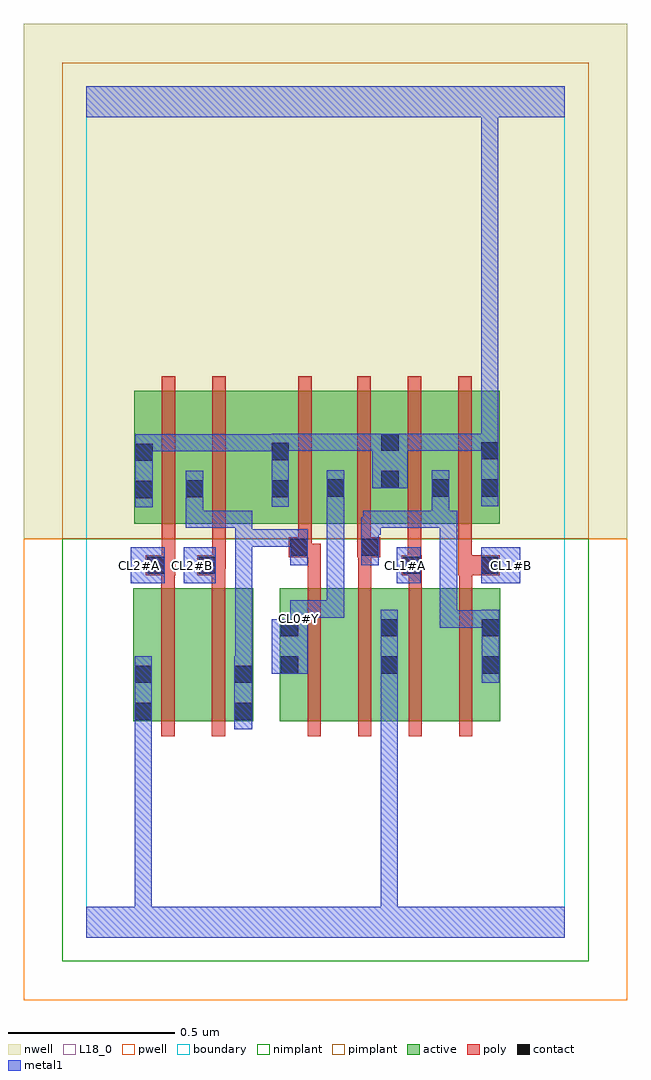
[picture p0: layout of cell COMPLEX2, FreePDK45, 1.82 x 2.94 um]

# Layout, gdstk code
import gdstk
lib = gdstk.Library(unit=1e-6, precision=1e-09)
def R(c, l, rs):  # rectangles x0, y0, x1, y1
    for r in rs: c.add(gdstk.rectangle(r[:2], r[2:], *l))
def A(c, l, x, y, w, h, nx, ny, dx, dy):  # array of equal rectangles
    R(c, l, [(x+i*dx, y+j*dy, x+i*dx+w, y+j*dy+h) for i in range(nx) for j in range(ny)])
active = (1, 0)
pwell = (2, 0)
nwell = (3, 0)
nimplant = (4, 0)
pimplant = (5, 0)
poly = (9, 0)
contact = (10, 0)
metal1 = (11, 0)
L18_0 = (18, 0)
boundary = (235, 0)

complex2 = lib.new_cell('COMPLEX2')
R(complex2, active, [(0.142,0.65,0.202,1.05), (0.142,0.65,0.322,1.05), (0.322,0.65,0.502,1.05), (0.442,0.65,0.502,1.05), (0.582,0.65,0.642,1.05), (0.582,0.65,0.762,1.05), (0.762,0.65,0.942,1.05), (0.882,0.65,1.066,1.05), (0.882,0.65,0.942,0.962), (1.066,0.65,1.246,1.05), (1.186,0.65,1.246,1.05), (0.144,1.244,0.204,1.644), (0.144,1.244,0.356,1.644), (0.296,1.244,0.614,1.644), (0.554,1.244,0.78,1.644), (0.72,1.244,0.944,1.644), (0.884,1.244,1.096,1.644), (1.036,1.244,1.244,1.644), (1.184,1.244,1.244,1.644), (0.296,1.32,0.356,1.644), (0.554,1.32,0.614,1.644), (0.72,1.322,0.78,1.644), (1.036,1.322,1.096,1.644), (0.884,1.338,0.944,1.644)])
R(complex2, pwell, [(-0.188,-0.188,1.628,1.2)])
R(complex2, nwell, [(-0.188,1.2,1.628,2.748)])
R(complex2, nimplant, [(-0.072,-0.072,1.512,1.2)])
R(complex2, pimplant, [(-0.072,1.2,1.512,2.632)])
A(complex2, poly, 0.666, 0.606, 0.04, 0.488, 4, 1, 0.152, 0)
A(complex2, poly, 0.816, 1.2, 0.04, 0.488, 3, 1, 0.152, 0)
R(complex2, poly, [(0.226,0.606,0.266,1.094), (0.378,0.606,0.418,1.094), (0.226,1.054,0.266,1.13), (0.378,1.054,0.418,1.13), (0.666,1.054,0.706,1.184), (0.818,1.054,0.858,1.184), (0.97,1.054,1.01,1.13), (1.122,1.054,1.162,1.13), (0.18,1.09,0.268,1.15), (0.226,1.09,0.266,1.13), (0.226,1.09,0.266,1.13), (0.334,1.09,0.418,1.15), (0.95,1.09,1.01,1.15), (1.12,1.09,1.244,1.15), (1.122,1.09,1.162,1.13), (1.122,1.09,1.162,1.13), (0.228,1.11,0.268,1.24), (0.378,1.11,0.418,1.15), (0.378,1.11,0.42,1.15), (0.38,1.11,0.42,1.24), (0.968,1.11,1.008,1.24), (0.968,1.11,1.008,1.15), (0.968,1.11,1.008,1.15), (1.12,1.11,1.16,1.24), (0.61,1.144,0.678,1.204), (0.638,1.144,0.678,1.184), (0.638,1.144,0.706,1.184), (0.816,1.144,0.884,1.204), (0.818,1.144,0.858,1.184), (0.818,1.144,0.858,1.184), (0.638,1.164,0.678,1.24), (0.816,1.164,0.856,1.24), (0.228,1.2,0.268,1.688), (0.38,1.2,0.42,1.688), (0.638,1.2,0.678,1.688)])
R(complex2, contact, [(0.146,0.654,0.198,0.706), (0.446,0.654,0.498,0.706), (0.146,0.766,0.198,0.818), (0.446,0.766,0.498,0.818), (0.586,0.794,0.638,0.846), (0.886,0.794,0.938,0.846), (1.19,0.794,1.242,0.846), (0.586,0.906,0.638,0.958), (0.886,0.906,0.938,0.958), (1.19,0.906,1.242,0.958), (0.184,1.094,0.236,1.146), (0.338,1.094,0.39,1.146), (0.954,1.094,1.006,1.146), (1.188,1.094,1.24,1.146), (0.614,1.148,0.666,1.2), (0.828,1.148,0.88,1.2), (0.148,1.322,0.2,1.374), (0.3,1.324,0.352,1.376), (0.558,1.324,0.61,1.376), (0.724,1.326,0.776,1.378), (1.04,1.326,1.092,1.378), (1.188,1.326,1.24,1.378), (0.888,1.352,0.94,1.404), (0.148,1.434,0.2,1.486), (0.558,1.436,0.61,1.488), (1.188,1.438,1.24,1.49), (0.888,1.464,0.94,1.516)])
R(complex2, metal1, [(0,0,1.44,0.092), (0.146,0.04,0.198,0.678), (0.886,0.04,0.938,0.092), (0.886,0.04,0.938,0.092), (0.886,0.04,0.938,0.092), (0.886,0.04,0.938,0.092), (0.886,0.04,0.938,0.818), (0.146,0.626,0.198,0.678), (0.146,0.626,0.198,0.678), (0.146,0.626,0.198,0.678), (0.146,0.626,0.198,0.678), (0.146,0.626,0.198,0.678), (0.146,0.626,0.198,0.678), (0.146,0.626,0.198,0.678), (0.146,0.626,0.198,0.678), (0.146,0.626,0.198,0.678), (0.146,0.626,0.198,0.678), (0.146,0.626,0.198,0.678), (0.146,0.626,0.198,0.678), (0.146,0.626,0.198,0.846), (0.446,0.626,0.5,0.846), (0.886,0.766,0.938,0.818), (0.886,0.766,0.938,0.818), (0.886,0.766,0.938,0.818), (0.886,0.766,0.938,0.818), (0.886,0.766,0.938,0.818), (0.886,0.766,0.938,0.818), (0.886,0.766,0.938,0.818), (0.886,0.766,0.938,0.818), (0.886,0.766,0.938,0.986), (1.19,0.766,1.242,0.986), (0.448,0.794,0.5,1.228), (0.558,0.794,0.666,0.958), (0.614,0.906,0.666,0.958), (0.614,0.906,0.666,1.014), (1.064,0.932,1.116,0.984), (1.064,0.932,1.24,0.984), (1.064,0.932,1.116,1.284), (1.188,0.932,1.24,0.984), (1.188,0.932,1.24,0.984), (1.188,0.932,1.242,0.986), (1.19,0.932,1.242,0.984), (0.614,0.962,0.666,1.014), (0.614,0.962,0.666,1.014), (0.614,0.962,0.776,1.014), (0.724,0.962,0.776,1.014), (0.724,0.962,0.776,1.35), (0.134,1.066,0.236,1.174), (0.294,1.066,0.39,1.174), (0.934,1.066,1.006,1.174), (1.188,1.066,1.306,1.174), (0.614,1.12,0.666,1.228), (0.828,1.12,0.88,1.264), (0.448,1.176,0.5,1.228), (0.448,1.176,0.5,1.228), (0.448,1.176,0.5,1.228), (0.448,1.176,0.5,1.228), (0.448,1.176,0.5,1.284), (0.448,1.176,0.666,1.228), (0.828,1.212,0.886,1.264), (0.834,1.212,0.886,1.284), (0.3,1.232,0.352,1.284), (0.3,1.232,0.352,1.284), (0.3,1.232,0.352,1.284), (0.3,1.232,0.5,1.284), (0.3,1.232,0.352,1.348), (0.834,1.232,1.092,1.284), (1.04,1.232,1.092,1.284), (1.04,1.232,1.092,1.284), (1.04,1.232,1.092,1.35), (1.04,1.232,1.116,1.284), (0.148,1.294,0.2,1.514), (0.3,1.296,0.352,1.404), (0.558,1.296,0.61,1.516), (0.724,1.298,0.776,1.35), (0.724,1.298,0.776,1.35), (0.724,1.298,0.776,1.406), (1.04,1.298,1.092,1.406), (1.188,1.298,1.24,1.518), (0.86,1.352,0.968,1.516), (0.148,1.462,0.2,1.514), (0.148,1.462,0.2,1.514), (0.148,1.462,0.346,1.514), (0.294,1.462,0.346,1.514), (0.294,1.462,0.346,1.514), (0.294,1.462,0.346,1.514), (0.294,1.462,0.498,1.514), (0.446,1.462,0.498,1.514), (0.446,1.462,0.61,1.514), (0.558,1.464,0.766,1.516), (0.714,1.464,0.766,1.516), (0.714,1.464,0.776,1.516), (0.724,1.464,0.776,1.516), (0.724,1.464,0.876,1.516), (0.824,1.464,0.876,1.516), (0.824,1.464,0.912,1.516), (0.916,1.464,1.13,1.516), (1.078,1.464,1.13,1.516), (1.078,1.464,1.13,1.516), (1.078,1.464,1.13,1.516), (1.078,1.464,1.24,1.516), (1.188,1.464,1.24,1.516), (1.188,1.464,1.24,1.516), (1.188,1.466,1.24,2.52), (0,2.468,1.44,2.56), (1.188,2.468,1.24,2.52), (1.188,2.468,1.24,2.52), (1.188,2.468,1.24,2.52), (1.188,2.468,1.24,2.52), (1.188,2.468,1.24,2.52), (1.188,2.468,1.24,2.52), (1.188,2.468,1.24,2.52), (1.188,2.468,1.24,2.52), (1.188,2.468,1.24,2.52), (1.188,2.468,1.24,2.52), (1.188,2.468,1.24,2.52), (1.188,2.468,1.24,2.52), (1.188,2.468,1.24,2.52), (1.188,2.468,1.24,2.52), (1.188,2.468,1.24,2.52), (1.188,2.468,1.24,2.52)])
A(complex2, L18_0, 0.614, 0.906, 0.052, 0.052, 1, 3, 0, 0.028)
R(complex2, L18_0, [(0,0,1.44,0.092), (0.146,0.04,0.198,0.678), (0.886,0.04,0.938,0.092), (0.886,0.04,0.938,0.092), (0.886,0.04,0.938,0.092), (0.886,0.04,0.938,0.092), (0.886,0.04,0.938,0.818), (0.146,0.626,0.198,0.678), (0.146,0.626,0.198,0.678), (0.146,0.626,0.198,0.678), (0.146,0.626,0.198,0.678), (0.146,0.626,0.198,0.678), (0.146,0.626,0.198,0.678), (0.146,0.626,0.198,0.678), (0.146,0.626,0.198,0.678), (0.146,0.626,0.198,0.678), (0.146,0.626,0.198,0.678), (0.146,0.626,0.198,0.678), (0.146,0.626,0.198,0.678), (0.146,0.626,0.198,0.846), (0.886,0.766,0.938,0.818), (0.886,0.766,0.938,0.818), (0.886,0.766,0.938,0.818), (0.886,0.766,0.938,0.818), (0.886,0.766,0.938,0.818), (0.886,0.766,0.938,0.818), (0.886,0.766,0.938,0.818), (0.886,0.766,0.938,0.818), (0.886,0.766,0.938,0.986), (0.558,0.794,0.666,0.958), (0.614,0.906,0.666,1.014), (0.614,0.962,0.666,1.014), (0.614,0.962,0.776,1.014), (0.724,0.962,0.776,1.014), (0.724,0.962,0.776,1.35), (0.134,1.066,0.236,1.174), (0.294,1.066,0.39,1.174), (0.934,1.066,1.006,1.174), (1.188,1.066,1.306,1.174), (0.134,1.094,0.186,1.146), (0.294,1.094,0.346,1.146), (0.934,1.094,0.986,1.146), (1.254,1.094,1.306,1.146), (0.148,1.294,0.2,1.514), (0.558,1.296,0.61,1.516), (0.724,1.298,0.776,1.35), (0.724,1.298,0.776,1.35), (0.724,1.298,0.776,1.406), (1.188,1.298,1.24,1.518), (0.86,1.352,0.968,1.516), (0.148,1.462,0.2,1.514), (0.148,1.462,0.2,1.514), (0.148,1.462,0.346,1.514), (0.294,1.462,0.346,1.514), (0.294,1.462,0.346,1.514), (0.294,1.462,0.346,1.514), (0.294,1.462,0.498,1.514), (0.446,1.462,0.498,1.514), (0.446,1.462,0.61,1.514), (0.558,1.464,0.766,1.516), (0.714,1.464,0.766,1.516), (0.714,1.464,0.776,1.516), (0.724,1.464,0.776,1.516), (0.724,1.464,0.876,1.516), (0.824,1.464,0.876,1.516), (0.824,1.464,0.912,1.516), (0.916,1.464,1.13,1.516), (1.078,1.464,1.13,1.516), (1.078,1.464,1.13,1.516), (1.078,1.464,1.13,1.516), (1.078,1.464,1.24,1.516), (1.188,1.464,1.24,1.516), (1.188,1.464,1.24,1.516), (1.188,1.466,1.24,2.52), (0,2.468,1.44,2.56), (1.188,2.468,1.24,2.52), (1.188,2.468,1.24,2.52), (1.188,2.468,1.24,2.52), (1.188,2.468,1.24,2.52), (1.188,2.468,1.24,2.52), (1.188,2.468,1.24,2.52), (1.188,2.468,1.24,2.52), (1.188,2.468,1.24,2.52), (1.188,2.468,1.24,2.52), (1.188,2.468,1.24,2.52), (1.188,2.468,1.24,2.52), (1.188,2.468,1.24,2.52), (1.188,2.468,1.24,2.52), (1.188,2.468,1.24,2.52), (1.188,2.468,1.24,2.52), (1.188,2.468,1.24,2.52)])
R(complex2, boundary, [(0,0,1.44,2.56)])
complex2.add(gdstk.Label('CL0#Y', (0.64,0.96), layer=11, texttype=0))
complex2.add(gdstk.Label('CL1#A', (0.96,1.12), layer=11, texttype=0))
complex2.add(gdstk.Label('CL1#B', (1.28,1.12), layer=11, texttype=0))
complex2.add(gdstk.Label('CL2#A', (0.16,1.12), layer=11, texttype=0))
complex2.add(gdstk.Label('CL2#B', (0.32,1.12), layer=11, texttype=0))

lib.write_gds('COMPLEX2.gds')
